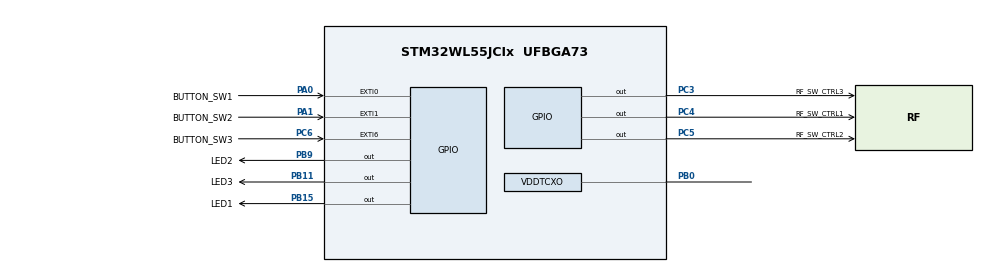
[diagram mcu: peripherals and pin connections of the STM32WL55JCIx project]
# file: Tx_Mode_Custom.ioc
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Mcu.Family=STM32WL
Mcu.Name=STM32WL55JCIx
Mcu.Package=UFBGA73
NVIC.PriorityGroup=NVIC_PRIORITYGROUP_4
NVIC.SUBGHZ_Radio_IRQn=true\:0\:0\:false\:true\:true\:1\:true\:true\:true
OSC_IN.Mode=HSE-TCXO
OSC_IN.Signal=RCC_OSC_IN
PA0.GPIO_Label=BUTTON_SW1
PA0.GPIO_ModeDefaultEXTI=GPIO_MODE_IT_FALLING
PA0.GPIO_PuPd=GPIO_PULLUP
PA0.Signal=GPXTI0
PA1.GPIO_Label=BUTTON_SW2
PA1.GPIO_ModeDefaultEXTI=GPIO_MODE_IT_FALLING
PA1.GPIO_PuPd=GPIO_PULLUP
PA1.Signal=GPXTI1
PA13.Mode=Trace_Asynchronous_SW
PA13.Signal=DEBUG_JTMS-SWDIO
PA14.Mode=Trace_Asynchronous_SW
PA14.Signal=DEBUG_JTCK-SWCLK
PA2.GPIO_Label=T_VCP_RX
PA2.Signal=USART2_TX
PA3.GPIO_Label=T_VCP_RX
PA3.Signal=USART2_RX
PB0-VDD_TCXO.Mode=HSE-TCXO
PB0-VDD_TCXO.Signal=VDDTCXO
PB11.GPIO_Label=LED3
PB11.GPIO_Speed=GPIO_SPEED_FREQ_HIGH
PB11.Signal=GPIO_Output
PB15.GPIO_Label=LED1
PB15.GPIO_Speed=GPIO_SPEED_FREQ_HIGH
PB15.Signal=GPIO_Output
PB3.Mode=Trace_Asynchronous_SW
PB3.Signal=DEBUG_JTDO-SWO
PB9.GPIO_FM9=__NULL
PB9.GPIO_Label=LED2
PB9.GPIO_Speed=GPIO_SPEED_FREQ_HIGH
PB9.Signal=GPIO_Output
PC14-OSC32_IN.Mode=LSE-External-Oscillator
PC14-OSC32_IN.Signal=RCC_OSC32_IN
PC15-OSC32_OUT.Mode=LSE-External-Oscillator
PC15-OSC32_OUT.Signal=RCC_OSC32_OUT
PC3.GPIO_Label=RF_SW_CTRL3
PC3.GPIO_Speed=GPIO_SPEED_FREQ_VERY_HIGH
PC3.Signal=GPIO_Output
PC4.GPIO_Label=RF_SW_CTRL1
PC4.GPIO_Speed=GPIO_SPEED_FREQ_VERY_HIGH
PC4.Signal=GPIO_Output
PC5.GPIO_Label=RF_SW_CTRL2
PC5.GPIO_Speed=GPIO_SPEED_FREQ_VERY_HIGH
PC5.Signal=GPIO_Output
PC6.GPIO_Label=BUTTON_SW3
PC6.GPIO_ModeDefaultEXTI=GPIO_MODE_IT_FALLING
PC6.GPIO_PuPd=GPIO_PULLUP
PC6.Signal=GPXTI6
ProjectManager.HeapSize=0x200
ProjectManager.StackSize=0x400
ProjectManager.TargetToolchain=STM32CubeIDE
RCC.HSE_VALUE=32000000
RCC.HSI_VALUE=16000000
RCC.LSE_VALUE=32768
RCC.VCOOutputFreq_Value=32000000
VP_SUBGHZ_VS_SUBGHZ.Mode=SUBGHZ_Activate
board=NUCLEO-WL55JC1

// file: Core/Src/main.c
/* USER CODE BEGIN Header */
/**
  ******************************************************************************
  * @file           : main.c
  * @brief          : Main program body
  ******************************************************************************
  * @attention
  *
  * Copyright (c) 2024 STMicroelectronics.
  * All rights reserved.
  *
  * This software is licensed under terms that can be found in the LICENSE file
  * in the root directory of this software component.
  * If no LICENSE file comes with this software, it is provided AS-IS.
  *
  ******************************************************************************
  */
/* USER CODE END Header */
#include "main.h"

/* USER CODE BEGIN Includes */
#include "core_cm4.h"
#include "subghz.h"
#include <stdio.h>

/* USER CODE END Includes */

SUBGHZ_HandleTypeDef hsubghz;

/* USER CODE BEGIN PV */
uint8_t RadioResult = 0x00;

/* USER CODE END PV */

void SystemClock_Config(void);
static void MX_GPIO_Init(void);
static void MX_NVIC_Init(void);

int main(void)
{

  /* MCU Configuration--------------------------------------------------------*/

  /* Reset of all peripherals, Initializes the Flash interface and the Systick. */
  HAL_Init();

  /* Configure the system clock */
  SystemClock_Config();

  /* Initialize all configured peripherals */
  MX_GPIO_Init();
  MX_SUBGHZ_Init();

  /* Initialize interrupts */
  MX_NVIC_Init();
  /* USER CODE BEGIN 2 */

  ConfigRFSwitch(RADIO_SWITCH_RX);

  RadioResult = 0x00;
  HAL_SUBGHZ_ExecGetCmd(&hsubghz, RADIO_GET_STATUS, &RadioResult, 1);
  printf("RR: 0x%02x\n", RadioResult);

  continuous_rx(&hsubghz);

  /* USER CODE END 2 */

  /* Infinite loop */
  /* USER CODE BEGIN WHILE */
  while (1)
  {
	RadioResult = 0x00;
	HAL_SUBGHZ_ExecGetCmd(&hsubghz, RADIO_GET_STATUS, &RadioResult, 1);
  	printf("RR: 0x%02x\n", RadioResult);
  	HAL_Delay(1000);
    /* USER CODE END WHILE */

  }
}

void SystemClock_Config(void)
{
  RCC_OscInitTypeDef RCC_OscInitStruct = {0};
  RCC_ClkInitTypeDef RCC_ClkInitStruct = {0};

  /** Configure LSE Drive Capability
  */
  HAL_PWR_EnableBkUpAccess();
  __HAL_RCC_LSEDRIVE_CONFIG(RCC_LSEDRIVE_LOW);

  /** Configure the main internal regulator output voltage
  */
  __HAL_PWR_VOLTAGESCALING_CONFIG(PWR_REGULATOR_VOLTAGE_SCALE2);

  /** Initializes the CPU, AHB and APB buses clocks
  */
  RCC_OscInitStruct.OscillatorType = RCC_OSCILLATORTYPE_LSE|RCC_OSCILLATORTYPE_MSI;
  RCC_OscInitStruct.LSEState = RCC_LSE_ON;
  RCC_OscInitStruct.MSIState = RCC_MSI_ON;
  RCC_OscInitStruct.MSICalibrationValue = RCC_MSICALIBRATION_DEFAULT;
  RCC_OscInitStruct.MSIClockRange = RCC_MSIRANGE_6;
  RCC_OscInitStruct.PLL.PLLState = RCC_PLL_NONE;
  if (HAL_RCC_OscConfig(&RCC_OscInitStruct) != HAL_OK)
  {
    Error_Handler();
  }

  /** Configure the SYSCLKSource, HCLK, PCLK1 and PCLK2 clocks dividers
  */
  RCC_ClkInitStruct.ClockType = RCC_CLOCKTYPE_HCLK3|RCC_CLOCKTYPE_HCLK
                              |RCC_CLOCKTYPE_SYSCLK|RCC_CLOCKTYPE_PCLK1
                              |RCC_CLOCKTYPE_PCLK2;
  RCC_ClkInitStruct.SYSCLKSource = RCC_SYSCLKSOURCE_MSI;
  RCC_ClkInitStruct.AHBCLKDivider = RCC_SYSCLK_DIV1;
  RCC_ClkInitStruct.APB1CLKDivider = RCC_HCLK_DIV1;
  RCC_ClkInitStruct.APB2CLKDivider = RCC_HCLK_DIV1;
  RCC_ClkInitStruct.AHBCLK3Divider = RCC_SYSCLK_DIV1;

  if (HAL_RCC_ClockConfig(&RCC_ClkInitStruct, FLASH_LATENCY_0) != HAL_OK)
  {
    Error_Handler();
  }
}

/**
  * @brief NVIC Configuration.
  * @retval None
  */
static void MX_NVIC_Init(void)
{
  /* SUBGHZ_Radio_IRQn interrupt configuration */
  HAL_NVIC_SetPriority(SUBGHZ_Radio_IRQn, 0, 0);
  HAL_NVIC_EnableIRQ(SUBGHZ_Radio_IRQn);
}

void MX_SUBGHZ_Init(void)
{

  hsubghz.Init.BaudratePrescaler = SUBGHZSPI_BAUDRATEPRESCALER_8;
  if (HAL_SUBGHZ_Init(&hsubghz) != HAL_OK)
  {
    Error_Handler();
  }
  /* USER CODE BEGIN SUBGHZ_Init 2 */
  if(subghz_init(&hsubghz) != HAL_OK)
  {
    Error_Handler();
  }
  /* USER CODE END SUBGHZ_Init 2 */

}

static void MX_GPIO_Init(void)
{
  GPIO_InitTypeDef GPIO_InitStruct = {0};

  /* GPIO Ports Clock Enable */
  __HAL_RCC_GPIOA_CLK_ENABLE();
  __HAL_RCC_GPIOB_CLK_ENABLE();
  __HAL_RCC_GPIOC_CLK_ENABLE();

  /*Configure GPIO pin Output Level */
  HAL_GPIO_WritePin(GPIOB, LED1_Pin|LED2_Pin|LED3_Pin, GPIO_PIN_RESET);

  /*Configure GPIO pin Output Level */
  HAL_GPIO_WritePin(GPIOC, RF_SW_CTRL3_Pin|RF_SW_CTRL2_Pin|RF_SW_CTRL1_Pin, GPIO_PIN_RESET);

  /*Configure GPIO pins : LED1_Pin LED2_Pin LED3_Pin */
  GPIO_InitStruct.Pin = LED1_Pin|LED2_Pin|LED3_Pin;
  GPIO_InitStruct.Mode = GPIO_MODE_OUTPUT_PP;
  GPIO_InitStruct.Pull = GPIO_NOPULL;
  GPIO_InitStruct.Speed = GPIO_SPEED_FREQ_HIGH;
  HAL_GPIO_Init(GPIOB, &GPIO_InitStruct);

  /*Configure GPIO pins : RF_SW_CTRL3_Pin RF_SW_CTRL2_Pin RF_SW_CTRL1_Pin */
  GPIO_InitStruct.Pin = RF_SW_CTRL3_Pin|RF_SW_CTRL2_Pin|RF_SW_CTRL1_Pin;
  GPIO_InitStruct.Mode = GPIO_MODE_OUTPUT_PP;
  GPIO_InitStruct.Pull = GPIO_NOPULL;
  GPIO_InitStruct.Speed = GPIO_SPEED_FREQ_VERY_HIGH;
  HAL_GPIO_Init(GPIOC, &GPIO_InitStruct);

  /*Configure GPIO pins : BUTTON_SW1_Pin BUTTON_SW2_Pin */
  GPIO_InitStruct.Pin = BUTTON_SW1_Pin|BUTTON_SW2_Pin;
  GPIO_InitStruct.Mode = GPIO_MODE_IT_FALLING;
  GPIO_InitStruct.Pull = GPIO_PULLUP;
  HAL_GPIO_Init(GPIOA, &GPIO_InitStruct);

  /*Configure GPIO pin : BUTTON_SW3_Pin */
  GPIO_InitStruct.Pin = BUTTON_SW3_Pin;
  GPIO_InitStruct.Mode = GPIO_MODE_IT_FALLING;
  GPIO_InitStruct.Pull = GPIO_PULLUP;
  HAL_GPIO_Init(BUTTON_SW3_GPIO_Port, &GPIO_InitStruct);

  /*Configure GPIO pins : T_VCP_RX_Pin T_VCP_RXA2_Pin */
  GPIO_InitStruct.Pin = T_VCP_RX_Pin|T_VCP_RXA2_Pin;
  GPIO_InitStruct.Mode = GPIO_MODE_AF_PP;
  GPIO_InitStruct.Pull = GPIO_NOPULL;
  GPIO_InitStruct.Speed = GPIO_SPEED_FREQ_LOW;
  GPIO_InitStruct.Alternate = GPIO_AF7_USART2;
  HAL_GPIO_Init(GPIOA, &GPIO_InitStruct);

}

/* USER CODE BEGIN 4 */

int __io_putchar(int ch)
{
  ITM_SendChar(ch);

  return ch;
}

/* USER CODE END 4 */

void Error_Handler(void)
{
  __disable_irq();
  while (1)
  {
  }
}
